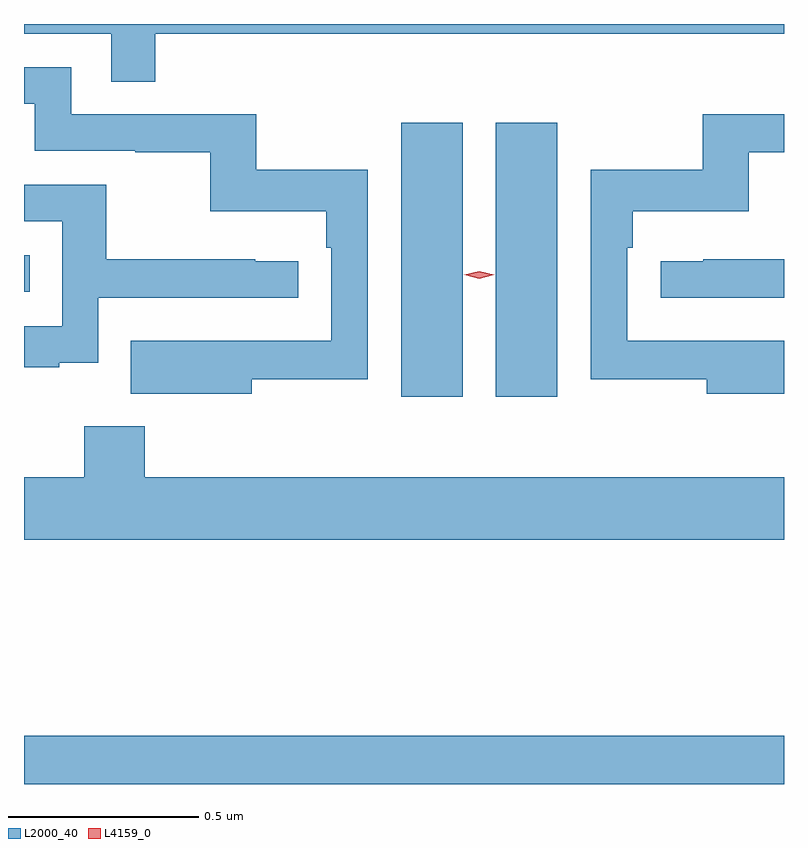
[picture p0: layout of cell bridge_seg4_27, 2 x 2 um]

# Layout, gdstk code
import gdstk
lib = gdstk.Library(unit=1e-6, precision=1e-09)
def R(c, l, rs):  # rectangles x0, y0, x1, y1
    for r in rs: c.add(gdstk.rectangle(r[:2], r[2:], *l))
def P(c, l, *ps):  # polygons
    for p in ps: c.add(gdstk.Polygon(p, *l))
L2000_40 = (2000, 40)
L4159_0 = (4159, 0)

bridge_seg4_27 = lib.new_cell('bridge_seg4_27')
R(bridge_seg4_27, L2000_40, [(1118.048,776.197,1120.048,776.324), (1119.041,777.216,1119.202,777.937), (1119.29,777.216,1119.451,777.937), (1118.048,777.492,1118.063,777.588)])
P(bridge_seg4_27, L2000_40, [(1118.393,778.172),(1120.048,778.172),(1120.048,778.197),(1118.048,778.197),(1118.048,778.172),(1118.277,778.172),(1118.277,778.045),(1118.393,778.045)],
  [(1118.647,777.262),(1118.952,777.262),(1118.952,777.814),(1118.659,777.814),(1118.659,777.96),(1118.172,777.96),(1118.172,778.083),(1118.048,778.083),(1118.048,777.987),(1118.076,777.987),(1118.076,777.864),(1118.341,777.864),(1118.341,777.859),(1118.538,777.859),(1118.538,777.704),(1118.843,777.704),(1118.843,777.608),(1118.856,777.608),(1118.856,777.363),(1118.543,777.363),(1118.543,777.364),(1118.329,777.364),(1118.329,777.224),(1118.647,777.224)],
  [(1120.048,777.364),(1119.949,777.364),(1119.949,777.363),(1119.636,777.363),(1119.636,777.608),(1119.65,777.608),(1119.65,777.704),(1119.955,777.704),(1119.955,777.859),(1120.048,777.859),(1120.048,777.96),(1119.834,777.96),(1119.834,777.814),(1119.54,777.814),(1119.54,777.262),(1119.845,777.262),(1119.845,777.224),(1120.048,777.224)],
  [(1118.141,777.305),(1118.244,777.305),(1118.244,777.477),(1118.77,777.477),(1118.77,777.573),(1118.657,777.573),(1118.657,777.578),(1118.264,777.578),(1118.264,777.774),(1118.048,777.774),(1118.048,777.678),(1118.148,777.678),(1118.148,777.402),(1118.048,777.402),(1118.048,777.294),(1118.141,777.294)],
  [(1120.048,777.578),(1119.835,777.578),(1119.835,777.573),(1119.723,777.573),(1119.723,777.477),(1120.048,777.477)],
  [(1120.048,777.004),(1118.366,777.004),(1118.366,777.139),(1118.206,777.139),(1118.206,777.004),(1118.048,777.004),(1118.048,776.84),(1120.048,776.84)])
P(bridge_seg4_27, L4159_0, [(1119.246,777.527),(1119.206,777.537),(1119.206,777.537),(1119.206,777.537),(1119.246,777.547),(1119.286,777.537),(1119.286,777.537),(1119.286,777.537)])

lib.write_gds('bridge_seg4_27.gds')
